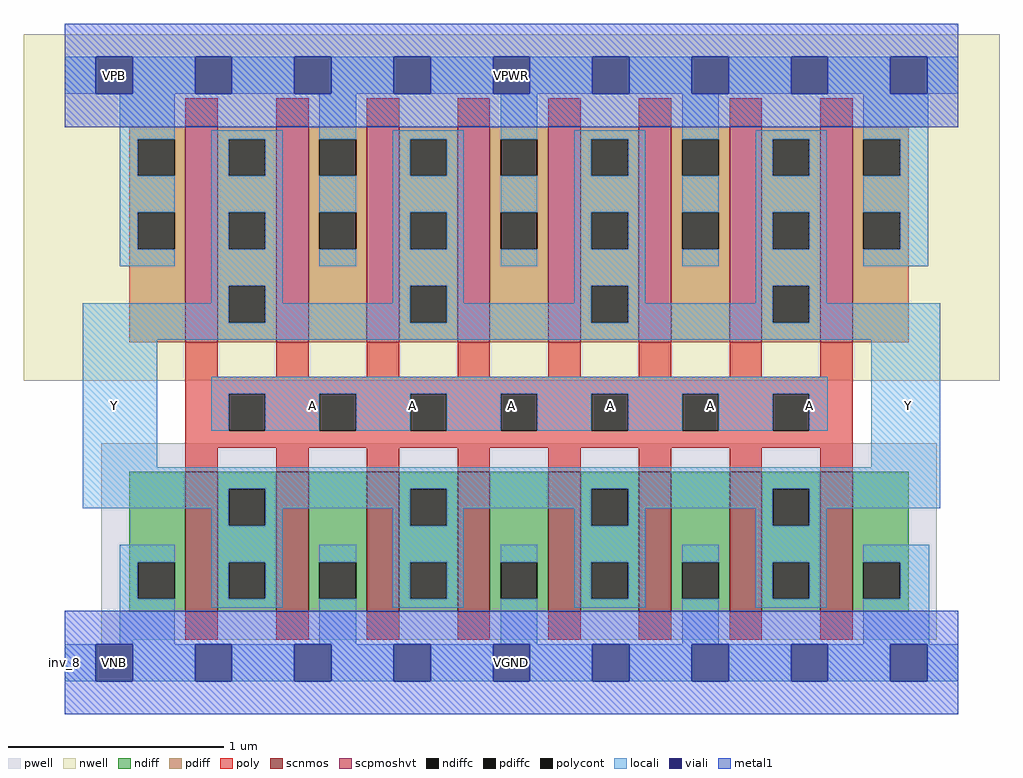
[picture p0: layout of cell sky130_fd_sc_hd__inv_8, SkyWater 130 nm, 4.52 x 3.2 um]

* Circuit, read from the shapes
.subckt sky130_fd_sc_hd__inv_8 A VGND VNB VPB VPWR Y
XM1 Y A VGND VNB sky130_fd_pr__nfet_01v8 w=0.65 l=0.15 m=8
XM2 Y A VPWR VPB sky130_fd_pr__pfet_01v8_hvt w=1 l=0.15 m=8
.ends

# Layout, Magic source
magic
tech sky130B
magscale 1 2
<< nwell >>
rect -38 261 866 582
<< pwell >>
rect 34 21 808 203
rect 34 17 63 21
rect 29 -17 63 17
<< scnmos >>
rect 112 47 142 177
rect 196 47 226 177
rect 280 47 310 177
rect 364 47 394 177
rect 448 47 478 177
rect 532 47 562 177
rect 616 47 646 177
rect 700 47 730 177
<< scpmoshvt >>
rect 112 297 142 497
rect 196 297 226 497
rect 280 297 310 497
rect 364 297 394 497
rect 448 297 478 497
rect 532 297 562 497
rect 616 297 646 497
rect 700 297 730 497
<< ndiff >>
rect 60 93 112 177
rect 60 59 68 93
rect 102 59 112 93
rect 60 47 112 59
rect 142 161 196 177
rect 142 127 152 161
rect 186 127 196 161
rect 142 93 196 127
rect 142 59 152 93
rect 186 59 196 93
rect 142 47 196 59
rect 226 93 280 177
rect 226 59 236 93
rect 270 59 280 93
rect 226 47 280 59
rect 310 161 364 177
rect 310 127 320 161
rect 354 127 364 161
rect 310 93 364 127
rect 310 59 320 93
rect 354 59 364 93
rect 310 47 364 59
rect 394 93 448 177
rect 394 59 404 93
rect 438 59 448 93
rect 394 47 448 59
rect 478 161 532 177
rect 478 127 488 161
rect 522 127 532 161
rect 478 93 532 127
rect 478 59 488 93
rect 522 59 532 93
rect 478 47 532 59
rect 562 93 616 177
rect 562 59 572 93
rect 606 59 616 93
rect 562 47 616 59
rect 646 161 700 177
rect 646 127 656 161
rect 690 127 700 161
rect 646 93 700 127
rect 646 59 656 93
rect 690 59 700 93
rect 646 47 700 59
rect 730 93 782 177
rect 730 59 740 93
rect 774 59 782 93
rect 730 47 782 59
<< pdiff >>
rect 60 485 112 497
rect 60 451 68 485
rect 102 451 112 485
rect 60 417 112 451
rect 60 383 68 417
rect 102 383 112 417
rect 60 297 112 383
rect 142 485 196 497
rect 142 451 152 485
rect 186 451 196 485
rect 142 417 196 451
rect 142 383 152 417
rect 186 383 196 417
rect 142 349 196 383
rect 142 315 152 349
rect 186 315 196 349
rect 142 297 196 315
rect 226 485 280 497
rect 226 451 236 485
rect 270 451 280 485
rect 226 417 280 451
rect 226 383 236 417
rect 270 383 280 417
rect 226 297 280 383
rect 310 485 364 497
rect 310 451 320 485
rect 354 451 364 485
rect 310 417 364 451
rect 310 383 320 417
rect 354 383 364 417
rect 310 349 364 383
rect 310 315 320 349
rect 354 315 364 349
rect 310 297 364 315
rect 394 485 448 497
rect 394 451 404 485
rect 438 451 448 485
rect 394 417 448 451
rect 394 383 404 417
rect 438 383 448 417
rect 394 297 448 383
rect 478 485 532 497
rect 478 451 488 485
rect 522 451 532 485
rect 478 417 532 451
rect 478 383 488 417
rect 522 383 532 417
rect 478 349 532 383
rect 478 315 488 349
rect 522 315 532 349
rect 478 297 532 315
rect 562 485 616 497
rect 562 451 572 485
rect 606 451 616 485
rect 562 417 616 451
rect 562 383 572 417
rect 606 383 616 417
rect 562 297 616 383
rect 646 485 700 497
rect 646 451 656 485
rect 690 451 700 485
rect 646 417 700 451
rect 646 383 656 417
rect 690 383 700 417
rect 646 349 700 383
rect 646 315 656 349
rect 690 315 700 349
rect 646 297 700 315
rect 730 485 782 497
rect 730 451 740 485
rect 774 451 782 485
rect 730 417 782 451
rect 730 383 740 417
rect 774 383 782 417
rect 730 297 782 383
<< ndiffc >>
rect 68 59 102 93
rect 152 127 186 161
rect 152 59 186 93
rect 236 59 270 93
rect 320 127 354 161
rect 320 59 354 93
rect 404 59 438 93
rect 488 127 522 161
rect 488 59 522 93
rect 572 59 606 93
rect 656 127 690 161
rect 656 59 690 93
rect 740 59 774 93
<< pdiffc >>
rect 68 451 102 485
rect 68 383 102 417
rect 152 451 186 485
rect 152 383 186 417
rect 152 315 186 349
rect 236 451 270 485
rect 236 383 270 417
rect 320 451 354 485
rect 320 383 354 417
rect 320 315 354 349
rect 404 451 438 485
rect 404 383 438 417
rect 488 451 522 485
rect 488 383 522 417
rect 488 315 522 349
rect 572 451 606 485
rect 572 383 606 417
rect 656 451 690 485
rect 656 383 690 417
rect 656 315 690 349
rect 740 451 774 485
rect 740 383 774 417
<< poly >>
rect 112 497 142 523
rect 196 497 226 523
rect 280 497 310 523
rect 364 497 394 523
rect 448 497 478 523
rect 532 497 562 523
rect 616 497 646 523
rect 700 497 730 523
rect 112 265 142 297
rect 196 265 226 297
rect 280 265 310 297
rect 364 265 394 297
rect 448 265 478 297
rect 532 265 562 297
rect 616 265 646 297
rect 700 265 730 297
rect 112 249 730 265
rect 112 215 152 249
rect 186 215 236 249
rect 270 215 320 249
rect 354 215 404 249
rect 438 215 488 249
rect 522 215 572 249
rect 606 215 656 249
rect 690 215 730 249
rect 112 199 730 215
rect 112 177 142 199
rect 196 177 226 199
rect 280 177 310 199
rect 364 177 394 199
rect 448 177 478 199
rect 532 177 562 199
rect 616 177 646 199
rect 700 177 730 199
rect 112 21 142 47
rect 196 21 226 47
rect 280 21 310 47
rect 364 21 394 47
rect 448 21 478 47
rect 532 21 562 47
rect 616 21 646 47
rect 700 21 730 47
<< polycont >>
rect 152 215 186 249
rect 236 215 270 249
rect 320 215 354 249
rect 404 215 438 249
rect 488 215 522 249
rect 572 215 606 249
rect 656 215 690 249
<< locali >>
rect 0 527 29 561
rect 63 527 121 561
rect 155 527 213 561
rect 247 527 305 561
rect 339 527 397 561
rect 431 527 489 561
rect 523 527 581 561
rect 615 527 673 561
rect 707 527 765 561
rect 799 527 828 561
rect 51 485 102 527
rect 51 451 68 485
rect 51 417 102 451
rect 51 383 68 417
rect 51 367 102 383
rect 136 485 202 493
rect 136 451 152 485
rect 186 451 202 485
rect 136 417 202 451
rect 136 383 152 417
rect 186 383 202 417
rect 136 349 202 383
rect 236 485 270 527
rect 236 417 270 451
rect 236 367 270 383
rect 304 485 370 493
rect 304 451 320 485
rect 354 451 370 485
rect 304 417 370 451
rect 304 383 320 417
rect 354 383 370 417
rect 136 333 152 349
rect 17 315 152 333
rect 186 333 202 349
rect 304 349 370 383
rect 404 485 438 527
rect 404 417 438 451
rect 404 367 438 383
rect 472 485 538 493
rect 472 451 488 485
rect 522 451 538 485
rect 472 417 538 451
rect 472 383 488 417
rect 522 383 538 417
rect 304 333 320 349
rect 186 315 320 333
rect 354 333 370 349
rect 472 349 538 383
rect 572 485 606 527
rect 572 417 606 451
rect 572 367 606 383
rect 640 485 706 493
rect 640 451 656 485
rect 690 451 706 485
rect 640 417 706 451
rect 640 383 656 417
rect 690 383 706 417
rect 472 333 488 349
rect 354 315 488 333
rect 522 333 538 349
rect 640 349 706 383
rect 740 485 800 527
rect 774 451 800 485
rect 740 417 800 451
rect 774 383 800 417
rect 740 367 800 383
rect 640 333 656 349
rect 522 315 656 333
rect 690 333 706 349
rect 690 315 811 333
rect 17 299 811 315
rect 17 181 86 299
rect 136 249 707 265
rect 136 215 152 249
rect 186 215 236 249
rect 270 215 320 249
rect 354 215 404 249
rect 438 215 488 249
rect 522 215 572 249
rect 606 215 656 249
rect 690 215 707 249
rect 747 181 811 299
rect 17 161 811 181
rect 17 143 152 161
rect 136 127 152 143
rect 186 143 320 161
rect 186 127 202 143
rect 51 93 102 109
rect 51 59 68 93
rect 51 17 102 59
rect 136 93 202 127
rect 304 127 320 143
rect 354 143 488 161
rect 354 127 370 143
rect 136 59 152 93
rect 186 59 202 93
rect 136 51 202 59
rect 236 93 270 109
rect 236 17 270 59
rect 304 93 370 127
rect 472 127 488 143
rect 522 143 656 161
rect 522 127 538 143
rect 304 59 320 93
rect 354 59 370 93
rect 304 51 370 59
rect 404 93 438 109
rect 404 17 438 59
rect 472 93 538 127
rect 640 127 656 143
rect 690 143 811 161
rect 690 127 706 143
rect 472 59 488 93
rect 522 59 538 93
rect 472 51 538 59
rect 572 93 606 109
rect 572 17 606 59
rect 640 93 706 127
rect 640 59 656 93
rect 690 59 706 93
rect 640 51 706 59
rect 740 93 801 109
rect 774 59 801 93
rect 740 17 801 59
rect 0 -17 29 17
rect 63 -17 121 17
rect 155 -17 213 17
rect 247 -17 305 17
rect 339 -17 397 17
rect 431 -17 489 17
rect 523 -17 581 17
rect 615 -17 673 17
rect 707 -17 765 17
rect 799 -17 828 17
<< viali >>
rect 29 527 63 561
rect 121 527 155 561
rect 213 527 247 561
rect 305 527 339 561
rect 397 527 431 561
rect 489 527 523 561
rect 581 527 615 561
rect 673 527 707 561
rect 765 527 799 561
rect 29 -17 63 17
rect 121 -17 155 17
rect 213 -17 247 17
rect 305 -17 339 17
rect 397 -17 431 17
rect 489 -17 523 17
rect 581 -17 615 17
rect 673 -17 707 17
rect 765 -17 799 17
<< metal1 >>
rect 0 561 828 592
rect 0 527 29 561
rect 63 527 121 561
rect 155 527 213 561
rect 247 527 305 561
rect 339 527 397 561
rect 431 527 489 561
rect 523 527 581 561
rect 615 527 673 561
rect 707 527 765 561
rect 799 527 828 561
rect 0 496 828 527
rect 0 17 828 48
rect 0 -17 29 17
rect 63 -17 121 17
rect 155 -17 213 17
rect 247 -17 305 17
rect 339 -17 397 17
rect 431 -17 489 17
rect 523 -17 581 17
rect 615 -17 673 17
rect 707 -17 765 17
rect 799 -17 828 17
rect 0 -48 828 -17
<< labels >>
flabel locali s 213 221 247 255 0 FreeSans 250 0 0 0 A
port 1 nsew signal input
flabel locali s 305 221 339 255 0 FreeSans 250 0 0 0 A
port 1 nsew signal input
flabel locali s 397 221 431 255 0 FreeSans 250 0 0 0 A
port 1 nsew signal input
flabel locali s 489 221 523 255 0 FreeSans 250 0 0 0 A
port 1 nsew signal input
flabel locali s 581 221 615 255 0 FreeSans 250 0 0 0 A
port 1 nsew signal input
flabel locali s 673 221 707 255 0 FreeSans 250 0 0 0 A
port 1 nsew signal input
flabel locali s 765 221 799 255 0 FreeSans 250 0 0 0 Y
port 6 nsew signal output
flabel locali s 29 221 63 255 0 FreeSans 250 0 0 0 Y
port 6 nsew signal output
flabel pwell s 29 -17 63 17 0 FreeSans 200 0 0 0 VNB
port 3 nsew ground bidirectional
flabel nwell s 29 527 63 561 0 FreeSans 200 0 0 0 VPB
port 4 nsew power bidirectional
flabel metal1 s 29 -17 63 17 0 FreeSans 200 0 0 0 VGND
port 2 nsew ground bidirectional abutment
flabel metal1 s 29 527 63 561 0 FreeSans 200 0 0 0 VPWR
port 5 nsew power bidirectional abutment
rlabel comment s 0 0 0 0 4 inv_8
rlabel metal1 s 0 -48 828 48 1 VGND
port 2 nsew ground bidirectional abutment
rlabel metal1 s 0 496 828 592 1 VPWR
port 5 nsew power bidirectional abutment
<< properties >>
string FIXED_BBOX 0 0 828 544
string GDS_END 2223856
string GDS_FILE $PDKPATH/libs.ref/sky130_fd_sc_hd/gds/sky130_fd_sc_hd.gds
string GDS_START 2216356
string LEFclass CORE
string LEFsite unithd
string LEFsymmetry X Y R90
string path 0.000 0.000 20.700 0.000 
<< end >>
